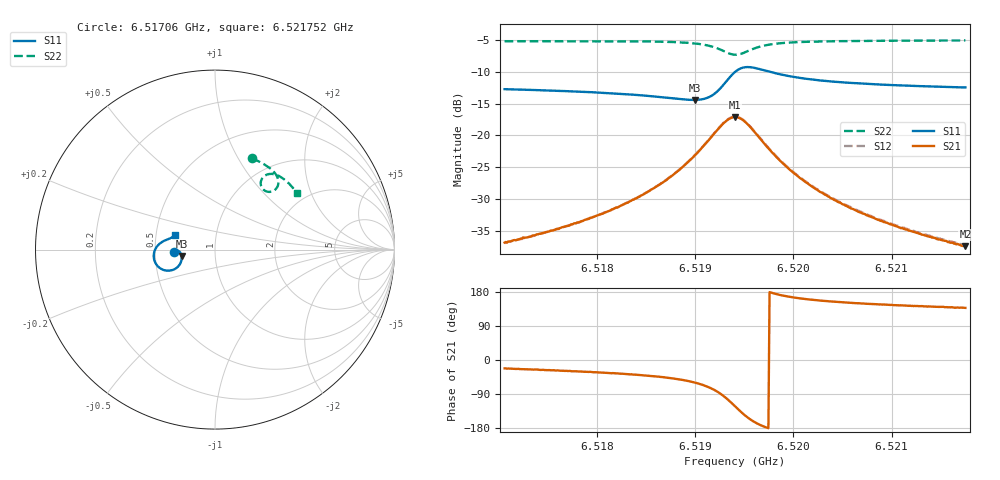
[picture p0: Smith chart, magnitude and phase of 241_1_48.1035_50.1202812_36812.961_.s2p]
#  HZ  S  RI  R  50.00
! Rohde & Schwarz Vector Network Analyzer
! Rohde-Schwarz,ZNB20-2Port,1311601062101988,3.16
! Created: UTC 12/23/2023, 3:58:45 AM
! freq[Hz]  re:S11  im:S11  re:S21  im:S21  re:S12  im:S12  re:S22  im:S22
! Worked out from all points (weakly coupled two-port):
!   401 points, 6.51706 GHz to 6.521752 GHz, reference 50 ohm
!   highest |S21| = -17.13 dB at 6.519406 GHz (marker M1); lowest = -37.4 dB at 6.521752 GHz (marker M2)
!   lowest |S11| = -14.4 dB at 6.518996 GHz (marker M3), VSWR 1.47, Z = 34.2 - j2.53 ohm
!   |S11| at or under -10 dB: start of sweep to 6.51941 GHz; 6.519755 GHz to end of sweep
!   |S22| runs from -7.3 to -5.1 dB; largest |S21 - S12| = 0.0043
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6.51706e9  -0.2299 -0.0159  0.0133 -0.00539  0.0134 -0.00515  0.2073 0.5076
6.5175997e9  -0.2235 -0.00835  0.0164 -0.0085  0.0165 -0.00804  0.2472 0.4899
6.517846e9  -0.2197 -0.00582  0.0183 -0.0108  0.0186 -0.0101  0.2653 0.4804
6.5182566e9  -0.2114 -0.00395  0.0229 -0.0167  0.0234 -0.0161  0.2962 0.4608
6.518456e9  -0.206 -0.0052  0.026 -0.0217  0.0267 -0.021  0.3114 0.449
6.518632e9  -0.2003 -0.00887  0.0293 -0.0284  0.0301 -0.0277  0.3252 0.4361
6.5188314e9  -0.1924 -0.0185  0.0335 -0.041  0.0348 -0.0403  0.3406 0.4166
6.5189956e9  -0.1863 -0.0356  0.0353 -0.0597  0.0372 -0.0589  0.3511 0.3931
6.5191012e9  -0.1862 -0.0555  0.0319 -0.0788  0.0345 -0.0783  0.3534 0.3717
6.5191833e9  -0.1933 -0.0772  0.0222 -0.0983  0.0252 -0.0984  0.3482 0.3514
6.5193124e9  -0.2364 -0.1137  -0.0218 -0.1271  -0.0183 -0.1288  0.3148 0.3229
6.5194062e9  -0.2946 -0.11  -0.0739 -0.118  -0.0709 -0.1209  0.2747 0.3305
6.5194531e9  -0.32 -0.0913  -0.0942 -0.0989  -0.0922 -0.1023  0.2603 0.3466
6.5195118e9  -0.3378 -0.0595  -0.1065 -0.0693  -0.1054 -0.0729  0.2546 0.3712
6.5196174e9  -0.337 -0.00873  -0.1004 -0.0259  -0.1003 -0.0289  0.2692 0.4047
6.5197112e9  -0.3224 0.0185  -0.0849 -0.00491  -0.0855 -0.00727  0.2897 0.4179
6.5199224e9  -0.2918 0.0445  -0.0562 0.0114  -0.0572 0.00994  0.328 0.4202
6.5201922e9  -0.2686 0.0555  -0.0369 0.0143  -0.0378 0.0132  0.3602 0.4084
6.5205676e9  -0.2509 0.0625  -0.0238 0.0131  -0.0246 0.0127  0.3913 0.387
6.5209782e9  -0.2392 0.0683  -0.0166 0.0115  -0.0172 0.0112  0.4179 0.3626
6.5213888e9  -0.2306 0.0739  -0.0125 0.00997  -0.013 0.00988  0.4404 0.3376
6.5217524e9  -0.2243 0.0789  -0.00994 0.0091  -0.0104 0.00899  0.4583 0.315
